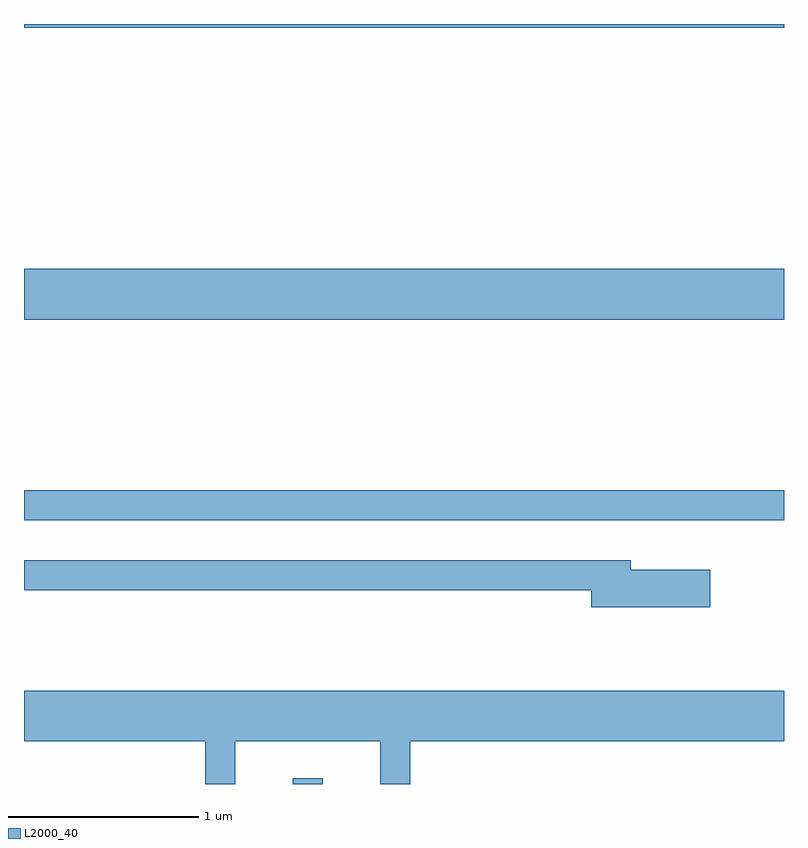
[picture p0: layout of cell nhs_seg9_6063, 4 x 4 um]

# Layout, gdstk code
import gdstk
lib = gdstk.Library(unit=1e-6, precision=1e-09)
def R(c, l, rs):  # rectangles x0, y0, x1, y1
    for r in rs: c.add(gdstk.rectangle(r[:2], r[2:], *l))
def P(c, l, *ps):  # polygons
    for p in ps: c.add(gdstk.Polygon(p, *l))
L2000_40 = (2000, 40)

nhs_seg9_6063 = lib.new_cell('nhs_seg9_6063')
R(nhs_seg9_6063, L2000_40, [(365.026,2040.432,365.184,2040.463), (363.611,2041.821,367.611,2041.979), (363.611,2042.876,367.611,2043.144), (363.611,2044.411,367.611,2044.432)])
P(nhs_seg9_6063, L2000_40, [(367.224,2041.559),(366.804,2041.559),(366.804,2041.609),(363.611,2041.609),(363.611,2041.451),(366.596,2041.451),(366.596,2041.361),(367.224,2041.361)],
  [(364.724,2040.656),(365.486,2040.656),(365.486,2040.432),(365.644,2040.432),(365.644,2040.656),(367.611,2040.656),(367.611,2040.924),(363.611,2040.924),(363.611,2040.656),(364.566,2040.656),(364.566,2040.432),(364.724,2040.432)])

lib.write_gds('nhs_seg9_6063.gds')
